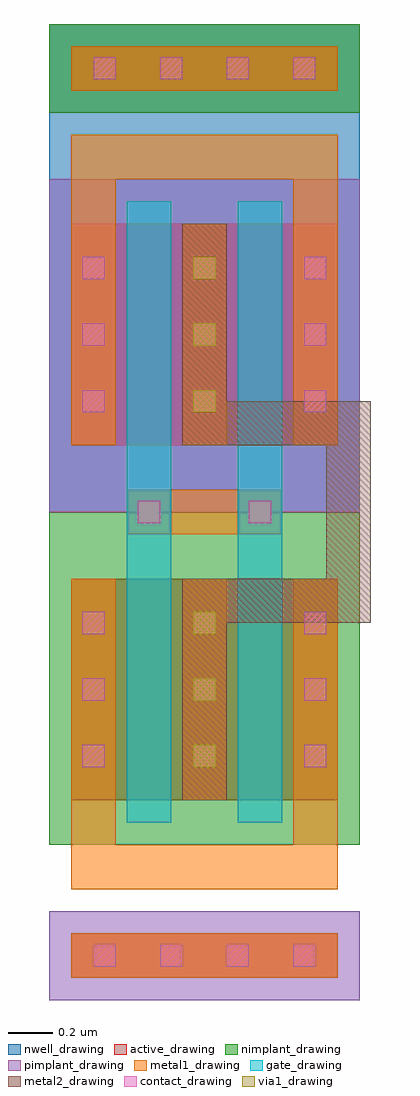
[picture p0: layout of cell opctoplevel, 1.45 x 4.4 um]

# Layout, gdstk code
import gdstk
lib = gdstk.Library(unit=1e-6, precision=1e-09)
def R(c, l, rs):  # rectangles x0, y0, x1, y1
    for r in rs: c.add(gdstk.rectangle(r[:2], r[2:], *l))
def A(c, l, x, y, w, h, nx, ny, dx, dy):  # array of equal rectangles
    R(c, l, [(x+i*dx, y+j*dy, x+i*dx+w, y+j*dy+h) for i in range(nx) for j in range(ny)])
active_drawing = (1, 0)
nwell_drawing = (3, 0)
pimplant_drawing = (4, 0)
nimplant_drawing = (5, 0)
gate_drawing = (6, 0)
contact_drawing = (7, 0)
metal1_drawing = (8, 0)
via1_drawing = (9, 0)
metal2_drawing = (10, 0)

opctoplevel = lib.new_cell('opctoplevel')
R(opctoplevel, active_drawing, [(-0.25,-0.8,0.95,-0.6), (-0.25,0,0.45,1), (0.25,0,0.95,1), (-0.25,1.6,0.45,2.6), (0.25,1.6,0.95,2.6), (-0.25,3.2,0.95,3.4)])
R(opctoplevel, nwell_drawing, [(-0.35,1.3,0.55,2.8), (-0.35,1.3,1.05,3.5), (0.15,1.3,1.05,2.8), (-0.35,3.1,1.05,3.5)])
R(opctoplevel, pimplant_drawing, [(-0.35,-0.9,1.05,-0.5), (-0.35,1.3,0.55,2.8), (0.15,1.3,1.05,2.8)])
R(opctoplevel, nimplant_drawing, [(-0.35,-0.2,0.55,1.3), (0.15,-0.2,1.05,1.3), (-0.35,3.1,1.05,3.5)])
R(opctoplevel, gate_drawing, [(0,-0.1,0.2,1.4), (0.5,-0.1,0.7,1.4), (0,1.3,0.2,2.7), (0.5,1.3,0.7,2.7)])
A(opctoplevel, contact_drawing, -0.15, -0.75, 0.1, 0.1, 4, 2, 0.3, 4)
A(opctoplevel, contact_drawing, -0.2, 0.15, 0.1, 0.1, 3, 3, 0.5, 0.3)
A(opctoplevel, contact_drawing, -0.2, 1.75, 0.1, 0.1, 3, 3, 0.5, 0.3)
R(opctoplevel, contact_drawing, [(0.05,1.25,0.15,1.35), (0.55,1.25,0.65,1.35)])
A(opctoplevel, metal1_drawing, -0.25, 0, 0.2, 1, 3, 2, 0.5, 1.6)
R(opctoplevel, metal1_drawing, [(-0.25,-0.8,0.95,-0.6), (-0.25,-0.4,0.95,-0.2), (-0.25,-0.2,-0.05,0), (0.75,-0.2,0.95,0), (0,1.2,0.2,1.4), (0,1.2,0.7,1.4), (0.5,1.2,0.7,1.4), (-0.25,2.6,-0.05,2.8), (0.75,2.6,0.95,2.8), (-0.25,2.8,0.95,3), (-0.25,3.2,0.95,3.4)])
A(opctoplevel, via1_drawing, 0.3, 0.15, 0.1, 0.1, 1, 3, 0, 0.3)
A(opctoplevel, via1_drawing, 0.3, 1.75, 0.1, 0.1, 1, 3, 0, 0.3)
R(opctoplevel, metal2_drawing, [(0.25,0,0.45,1), (0.25,1.6,0.45,2.6)])
opctoplevel.add(gdstk.FlexPath([(0.45,1.7),(1,1.7),(1,0.9),(0.45,0.9)], 0.2, ends="flush", simple_path=True, layer=10, datatype=0))  # metal2_drawing

lib.write_gds('opctoplevel.gds')
